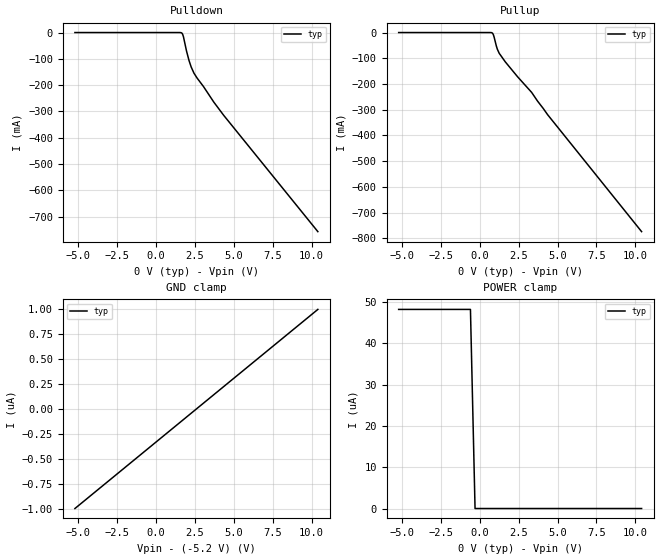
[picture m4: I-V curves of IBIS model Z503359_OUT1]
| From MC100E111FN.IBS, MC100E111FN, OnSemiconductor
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| (C) COPYRIGHT 1993-2000
| MENTOR GRAPHICS CORPORATION
| ICX STANDARD LIBRARY, ICX PROJECT MODELING,
| ICX CUSTOM MODELING, ICX VENDOR MODEL
| ALL RIGHTS RESERVED.
| THE FOLLOWING ARE TRADEMARKS OR SERVICE MARKS OF
| MENTOR GRAPHICS CORPORATION:ICX (R), ICX STANDARD
| LIBRARY(R), ICX PROJECT MODELING(R), ICX CUSTOM
| MODELING(R), qualityIBIS(TM), MODELVIEWER(TM),
| AND MODELEDITOR(TM)
| ALL COPIES OF SOFTWARE, INCLUDING BUT NOT LIMITED TO
| ANY MODIFICATIONS, ENHANCEMENTS OR DERIVATIVE WORKS,
| MUST CONTAIN ALL MENTOR GRAPHICS CORPORATION'S
| NOTICES AND LEGENDS, INCLUDING THOSE EMBEDDED IN
| SOFTWARE AND THOSE AFFIXED TO SOFTWARE MEDIUM
| AND CONTAINER, AS RECEIVED FROM MENTOR GRAPHICS
| CORPORATION.
| Model Application Version 1.89 2/18/99.
[Model] Z503359_OUT1
Model_type Output_ECL
Vref=-2.000V
Rref=50.00ohms
Cref=0.000F
Vmeas=-1.320V
C_comp 8.000pF NA NA
| variable typ   min   max
[Voltage Range] -5.200V NA NA
[POWER Clamp Reference] 0.000V NA NA
[Pullup Reference] 0.000V NA NA
[Pulldown Reference] 0.000V NA NA
[GND Clamp Reference] -5.200V NA NA
[GND Clamp]
-5.2V     -1uA       NA         NA
10.4V     1uA        NA         NA
[Pulldown]
-5.2V     126.3uA    NA         NA
1.664V    -1.724mA   NA         NA
1.769V    -15.84mA   NA         NA
1.968V    -70.61mA   NA         NA
2.131V    -107.1mA   NA         NA
2.266V    -130.9mA   NA         NA
2.443V    -154.2mA   NA         NA
2.643V    -172.8mA   NA         NA
3.052V    -204.9mA   NA         NA
3.721V    -264.6mA   NA         NA
4.363V    -315.3mA   NA         NA
10.4V     -756.8mA   NA         NA
[Pullup]
-5.2V     86.93uA    NA         NA
825mV     -2.276mA   NA         NA
929.1mV   -17.59mA   NA         NA
1.069V    -51.7mA    NA         NA
1.138V    -64.94mA   NA         NA
1.257V    -80.68mA   NA         NA
1.644V    -113.7mA   NA         NA
2.425V    -171.1mA   NA         NA
3.339V    -232.6mA   NA         NA
4.36V     -318.9mA   NA         NA
10.4V     -773.9mA   NA         NA
[POWER Clamp]
-5.2V     48.17uA    NA         NA
-590.8mV  48.17uA    NA         NA
-295.4mV  0A         NA         NA
10.4V     0A         NA         NA
[Ramp]
| variable typ min max
dV/dt_r 479.5m/295.4p NA NA
dV/dt_f 479.5m/253.3p NA NA
R_load = 500.0Ohms
